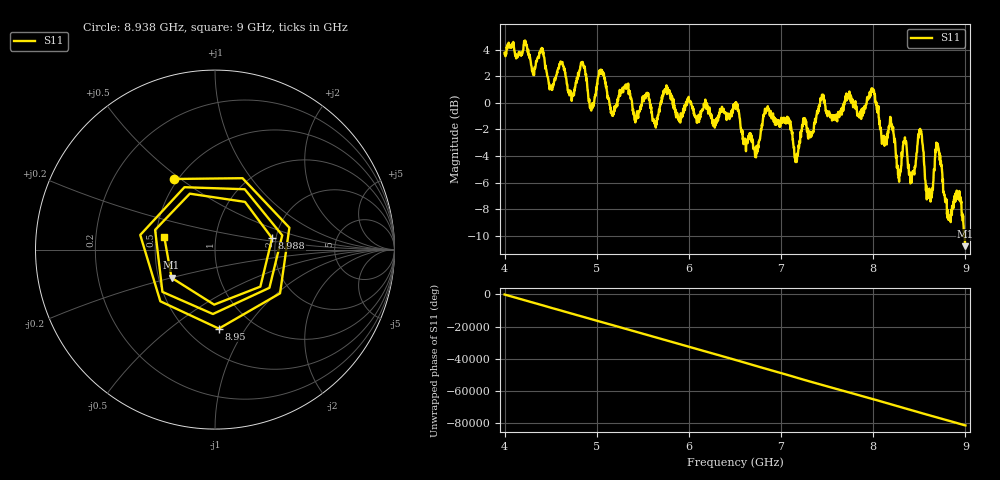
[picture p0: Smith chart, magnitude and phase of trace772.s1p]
! Created with skrf 1.8.0 (http://scikit-rf.org).
# Hz S RI R 50.0
!freq ReS11 ImS11
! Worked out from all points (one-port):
!   1601 points, 4 GHz to 9 GHz, reference 50 ohm
!   lowest |S11| = -10.8 dB at 8.997 GHz (marker M1), VSWR 1.81, Z = 29.2 - j10 ohm
!   |S11| at or under -10 dB: 8.983756 GHz to 8.984853 GHz (1.096 MHz wide, 0.0122 % of centre); 8.992508 GHz to end of sweep
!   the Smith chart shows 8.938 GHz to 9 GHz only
!   S11 on the Smith chart (normalised r, x): 8.938 GHz: 0.48, +0.47; 8.95 GHz: 0.70, -0.76; 8.988 GHz: 1.91, +0.27; 9 GHz: 0.55, +0.09
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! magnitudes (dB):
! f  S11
! 4 GHz  3.8
! 4.506 GHz  1.0
! 4.625 GHz  3.1
! 4.728 GHz  0.1
! 4.847 GHz  3.1
! 4.944 GHz  -0.5
! 5.041 GHz  2.5
! 5.162 GHz  -0.7
! 5.25 GHz  1.0
! 5.875 GHz  -1.0
! 6.5 GHz  -0.4
! 6.722 GHz  -3.9
! 6.847 GHz  -0.6
! 7.125 GHz  -2.8
! 7.75 GHz  0.5
! 7.994 GHz  0.9
! 8.278 GHz  -5.6
! 8.375 GHz  -4.6
! 8.428 GHz  -5.2
! 8.509 GHz  -2.0
! 8.606 GHz  -7.0
! 8.7 GHz  -3.1
! 8.819 GHz  -8.5
! 8.938 GHz  -6.8
! 8.95 GHz  -7.1
! 8.988 GHz  -9.8
! 8.997 GHz  -10.8
! 9 GHz  -10.7
